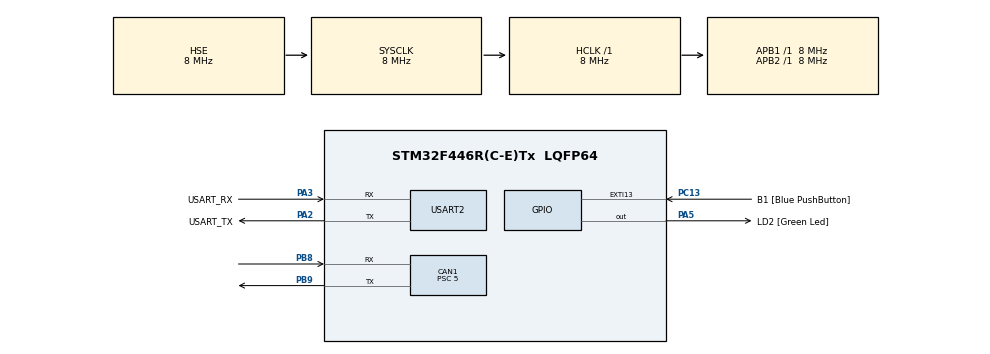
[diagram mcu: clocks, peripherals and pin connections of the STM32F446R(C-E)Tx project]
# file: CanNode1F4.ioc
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CAN1.BS1=CAN_BS1_8TQ
CAN1.CalculateBaudRate=160000
CAN1.CalculateTimeBit=6250
CAN1.CalculateTimeQuantum=625.0
CAN1.Prescaler=5
Mcu.Family=STM32F4
Mcu.Name=STM32F446R(C-E)Tx
Mcu.Package=LQFP64
NVIC.CAN1_RX0_IRQn=true\:0\:0\:false\:false\:true\:true\:true\:true
NVIC.CAN1_RX1_IRQn=true\:0\:0\:false\:false\:true\:true\:true\:true
NVIC.CAN1_SCE_IRQn=true\:0\:0\:false\:false\:true\:true\:true\:true
NVIC.CAN1_TX_IRQn=true\:0\:0\:false\:false\:true\:true\:true\:true
NVIC.PriorityGroup=NVIC_PRIORITYGROUP_0
NVIC.RCC_IRQn=true\:0\:0\:false\:false\:true\:true\:false\:true
PA13.GPIO_Label=TMS
PA13.Mode=Serial_Wire
PA13.Signal=SYS_JTMS-SWDIO
PA14.GPIO_Label=TCK
PA14.Mode=Serial_Wire
PA14.Signal=SYS_JTCK-SWCLK
PA2.GPIO_Label=USART_TX
PA2.Mode=Asynchronous
PA2.Signal=USART2_TX
PA3.GPIO_Label=USART_RX
PA3.Mode=Asynchronous
PA3.Signal=USART2_RX
PA5.GPIO_Label=LD2 [Green Led]
PA5.Signal=GPIO_Output
PB3.GPIO_Label=SWO
PB3.Signal=SYS_JTDO-SWO
PB8.GPIO_Mode=GPIO_MODE_AF_PP
PB8.Mode=CAN_Activate
PB8.Signal=CAN1_RX
PB9.Mode=CAN_Activate
PB9.Signal=CAN1_TX
PC13.GPIO_Label=B1 [Blue PushButton]
PC13.GPIO_ModeDefaultEXTI=GPIO_MODE_IT_FALLING
PC13.Signal=GPXTI13
PC14-OSC32_IN.Mode=LSE-External-Oscillator
PC14-OSC32_IN.Signal=RCC_OSC32_IN
PC15-OSC32_OUT.Mode=LSE-External-Oscillator
PC15-OSC32_OUT.Signal=RCC_OSC32_OUT
PH0-OSC_IN.Mode=HSE-External-Oscillator
PH0-OSC_IN.Signal=RCC_OSC_IN
PH1-OSC_OUT.Mode=HSE-External-Oscillator
PH1-OSC_OUT.Signal=RCC_OSC_OUT
ProjectManager.HeapSize=0x200
ProjectManager.StackSize=0x400
ProjectManager.TargetToolchain=STM32CubeIDE
RCC.48MHZClocksFreq_Value=84000000
RCC.AHBFreq_Value=8000000
RCC.APB1Freq_Value=8000000
RCC.APB1TimFreq_Value=8000000
RCC.APB2Freq_Value=8000000
RCC.APB2TimFreq_Value=8000000
RCC.CortexFreq_Value=8000000
RCC.FLatency-AdvancedSettings=FLASH_LATENCY_0
RCC.HCLKFreq_Value=8000000
RCC.HSE_VALUE=8000000
RCC.HSI_VALUE=16000000
RCC.PLLN=336
RCC.PLLP=RCC_PLLP_DIV4
RCC.SYSCLKFreq_VALUE=8000000
RCC.SYSCLKSource=RCC_SYSCLKSOURCE_HSE
RCC.USBFreq_Value=168000000
RCC.VCOOutputFreq_Value=336000000
USART2.VirtualMode=VM_ASYNC
board=NUCLEO-F446RE

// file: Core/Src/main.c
/* USER CODE BEGIN Header */
/**
  ******************************************************************************
  * @file           : main.c
  * @brief          : Main program body
  ******************************************************************************
  * @attention
  *
  * Copyright (c) 2024 STMicroelectronics.
  * All rights reserved.
  *
  * This software is licensed under terms that can be found in the LICENSE file
  * in the root directory of this software component.
  * If no LICENSE file comes with this software, it is provided AS-IS.
  *
  ******************************************************************************
  */
/* USER CODE END Header */
#include "main.h"

CAN_HandleTypeDef hcan1;

UART_HandleTypeDef huart2;

/* USER CODE BEGIN PV */

CAN_RxHeaderTypeDef RxHeader;
void CAN_Filter_Config(void);
void HAL_CAN_RxFifo0MsgPendingCallback(CAN_HandleTypeDef *hcan);

/* USER CODE END PV */

void SystemClock_Config(void);
static void MX_GPIO_Init(void);
static void MX_USART2_UART_Init(void);
static void MX_CAN1_Init(void);

/* USER CODE BEGIN 0 */
char msg[100];
/* USER CODE END 0 */

int main(void)
{

  /* MCU Configuration--------------------------------------------------------*/

  /* Reset of all peripherals, Initializes the Flash interface and the Systick. */
  HAL_Init();

  /* Configure the system clock */
  SystemClock_Config();

  /* Initialize all configured peripherals */
  MX_GPIO_Init();
  MX_USART2_UART_Init();
  MX_CAN1_Init();
  /* USER CODE BEGIN 2 */
  sprintf(msg, "Inicializado Node2\r\n");
  HAL_UART_Transmit(&huart2, (uint8_t*)msg, strlen(msg), HAL_MAX_DELAY);

	if(HAL_CAN_ActivateNotification(&hcan1,CAN_IT_TX_MAILBOX_EMPTY | CAN_IT_RX_FIFO0_MSG_PENDING | CAN_IT_RX_FIFO0_FULL | CAN_IT_BUSOFF) != HAL_OK)
	{
		Error_Handler();
	}

	CAN_Filter_Config();

	if( HAL_CAN_Start(&hcan1) != HAL_OK)
	{
		Error_Handler();
	}

	CAN_TxHeaderTypeDef TxHeader;
	uint32_t TxMailbox;
	uint8_t message[5] = {'H', 'E','L','L','O'};

	TxHeader.DLC = 5;
	TxHeader.StdId = 0x65D;
	TxHeader.IDE = CAN_ID_STD;
	TxHeader.RTR = CAN_RTR_DATA;

	if (HAL_CAN_AddTxMessage(&hcan1, &TxHeader, &message, &TxMailbox) != HAL_OK){
		sprintf(msg, "Erro: HAL_CAN_AddTxMessage\r\n");
		HAL_UART_Transmit(&huart2, (uint8_t*)msg, strlen(msg), HAL_MAX_DELAY);
		Error_Handler();
	}

	while(HAL_CAN_IsTxMessagePending(&hcan1, TxMailbox) ==  1U);

	  sprintf(msg, "Menssagem Enviado\r\n");
	  HAL_UART_Transmit(&huart2, (uint8_t*)msg, strlen(msg), HAL_MAX_DELAY);

  /* USER CODE END 2 */

  /* Infinite loop */
  /* USER CODE BEGIN WHILE */
  while (1)
  {
	  while(!HAL_CAN_GetRxFifoFillLevel(&hcan1, CAN_RX_FIFO0)){
		  HAL_Delay(1000);
		  sprintf(msg, "Waiting...\r\n");
		  HAL_UART_Transmit(&huart2, (uint8_t*)msg, strlen(msg), HAL_MAX_DELAY);
	  }

		uint8_t rcvd_msg[5];

		char msg[50];

		HAL_CAN_GetRxMessage(&hcan1, CAN_RX_FIFO0, &RxHeader, rcvd_msg);

		sprintf(msg,"Fifo Processing F1 : #%x\r\n",rcvd_msg[0]);
		HAL_UART_Transmit(&huart2,(uint8_t*)msg,strlen(msg),HAL_MAX_DELAY);

    /* USER CODE END WHILE */

  }
}

void SystemClock_Config(void)
{
  RCC_OscInitTypeDef RCC_OscInitStruct = {0};
  RCC_ClkInitTypeDef RCC_ClkInitStruct = {0};

  /** Configure the main internal regulator output voltage
  */
  __HAL_RCC_PWR_CLK_ENABLE();
  __HAL_PWR_VOLTAGESCALING_CONFIG(PWR_REGULATOR_VOLTAGE_SCALE3);

  /** Initializes the RCC Oscillators according to the specified parameters
  * in the RCC_OscInitTypeDef structure.
  */
  RCC_OscInitStruct.OscillatorType = RCC_OSCILLATORTYPE_HSE;
  RCC_OscInitStruct.HSEState = RCC_HSE_ON;
  RCC_OscInitStruct.PLL.PLLState = RCC_PLL_NONE;
  if (HAL_RCC_OscConfig(&RCC_OscInitStruct) != HAL_OK)
  {
    Error_Handler();
  }

  /** Initializes the CPU, AHB and APB buses clocks
  */
  RCC_ClkInitStruct.ClockType = RCC_CLOCKTYPE_HCLK|RCC_CLOCKTYPE_SYSCLK
                              |RCC_CLOCKTYPE_PCLK1|RCC_CLOCKTYPE_PCLK2;
  RCC_ClkInitStruct.SYSCLKSource = RCC_SYSCLKSOURCE_HSE;
  RCC_ClkInitStruct.AHBCLKDivider = RCC_SYSCLK_DIV1;
  RCC_ClkInitStruct.APB1CLKDivider = RCC_HCLK_DIV1;
  RCC_ClkInitStruct.APB2CLKDivider = RCC_HCLK_DIV1;

  if (HAL_RCC_ClockConfig(&RCC_ClkInitStruct, FLASH_LATENCY_0) != HAL_OK)
  {
    Error_Handler();
  }
}

static void MX_CAN1_Init(void)
{

  hcan1.Instance = CAN1;
  hcan1.Init.Prescaler = 5;
  hcan1.Init.Mode = CAN_MODE_NORMAL;
  hcan1.Init.SyncJumpWidth = CAN_SJW_1TQ;
  hcan1.Init.TimeSeg1 = CAN_BS1_8TQ;
  hcan1.Init.TimeSeg2 = CAN_BS2_1TQ;
  hcan1.Init.TimeTriggeredMode = DISABLE;
  hcan1.Init.AutoBusOff = ENABLE;
  hcan1.Init.AutoWakeUp = DISABLE;
  hcan1.Init.AutoRetransmission = ENABLE;
  hcan1.Init.ReceiveFifoLocked = DISABLE;
  hcan1.Init.TransmitFifoPriority = DISABLE;
  if (HAL_CAN_Init(&hcan1) != HAL_OK)
  {
    Error_Handler();
  }

}

static void MX_USART2_UART_Init(void)
{

  huart2.Instance = USART2;
  huart2.Init.BaudRate = 115200;
  huart2.Init.WordLength = UART_WORDLENGTH_8B;
  huart2.Init.StopBits = UART_STOPBITS_1;
  huart2.Init.Parity = UART_PARITY_NONE;
  huart2.Init.Mode = UART_MODE_TX_RX;
  huart2.Init.HwFlowCtl = UART_HWCONTROL_NONE;
  huart2.Init.OverSampling = UART_OVERSAMPLING_16;
  if (HAL_UART_Init(&huart2) != HAL_OK)
  {
    Error_Handler();
  }

}

static void MX_GPIO_Init(void)
{
  GPIO_InitTypeDef GPIO_InitStruct = {0};

  /* GPIO Ports Clock Enable */
  __HAL_RCC_GPIOC_CLK_ENABLE();
  __HAL_RCC_GPIOH_CLK_ENABLE();
  __HAL_RCC_GPIOA_CLK_ENABLE();
  __HAL_RCC_GPIOB_CLK_ENABLE();

  /*Configure GPIO pin Output Level */
  HAL_GPIO_WritePin(LD2_GPIO_Port, LD2_Pin, GPIO_PIN_RESET);

  /*Configure GPIO pin : B1_Pin */
  GPIO_InitStruct.Pin = B1_Pin;
  GPIO_InitStruct.Mode = GPIO_MODE_IT_FALLING;
  GPIO_InitStruct.Pull = GPIO_NOPULL;
  HAL_GPIO_Init(B1_GPIO_Port, &GPIO_InitStruct);

  /*Configure GPIO pin : LD2_Pin */
  GPIO_InitStruct.Pin = LD2_Pin;
  GPIO_InitStruct.Mode = GPIO_MODE_OUTPUT_PP;
  GPIO_InitStruct.Pull = GPIO_NOPULL;
  GPIO_InitStruct.Speed = GPIO_SPEED_FREQ_LOW;
  HAL_GPIO_Init(LD2_GPIO_Port, &GPIO_InitStruct);

}

/* USER CODE BEGIN 4 */
void CAN_Filter_Config(void)
{
	CAN_FilterTypeDef can1_filter_init;

	can1_filter_init.FilterActivation = CAN_FILTER_DISABLE;
	can1_filter_init.FilterBank  = 0;
	can1_filter_init.FilterFIFOAssignment = CAN_RX_FIFO0;
	can1_filter_init.FilterIdHigh = 0x0000;
	can1_filter_init.FilterIdLow = 0x0000;
	can1_filter_init.FilterMaskIdHigh = 0x0000;
	can1_filter_init.FilterMaskIdLow = 0x0000;
	can1_filter_init.FilterMode = CAN_FILTERMODE_IDMASK;
	can1_filter_init.FilterScale = CAN_FILTERSCALE_32BIT;

	if( HAL_CAN_ConfigFilter(&hcan1,&can1_filter_init) != HAL_OK)
	{
		Error_Handler();
	}
}
void HAL_CAN_TxMailbox0CompleteCallback(CAN_HandleTypeDef *hcan)
{
	char msg[50];
	sprintf(msg,"Message Transmitted:M0\r\n");
	HAL_UART_Transmit(&huart2,(uint8_t*)msg,strlen(msg),HAL_MAX_DELAY);

}

void HAL_CAN_TxMailbox1CompleteCallback(CAN_HandleTypeDef *hcan)
{
	char msg[50];
	sprintf(msg,"Message Transmitted:M1\r\n");
	HAL_UART_Transmit(&huart2,(uint8_t*)msg,strlen(msg),HAL_MAX_DELAY);

}

void HAL_CAN_TxMailbox2CompleteCallback(CAN_HandleTypeDef *hcan)
{
	char msg[50];
	sprintf(msg,"Message Transmitted:M2\r\n");
	HAL_UART_Transmit(&huart2,(uint8_t*)msg,strlen(msg),HAL_MAX_DELAY);
}

void HAL_CAN_RxFifo1MsgPendingCallback(CAN_HandleTypeDef *hcan){
	char msg[50];
	sprintf(msg,"Fifo1 Processing F1 : #%x\r\n");
	HAL_UART_Transmit(&huart2,(uint8_t*)msg,strlen(msg),HAL_MAX_DELAY);
}

void HAL_CAN_RxFifo0MsgPendingCallback(CAN_HandleTypeDef *hcan)
{
	uint8_t rcvd_msg[5];

	char msg[50];

	sprintf(msg,"Fifo Processing F1 : #%x\r\n",rcvd_msg[0]);
	HAL_UART_Transmit(&huart2,(uint8_t*)msg,strlen(msg),HAL_MAX_DELAY);

	if(HAL_CAN_GetRxMessage(&hcan1,CAN_RX_FIFO0,&RxHeader,rcvd_msg) != HAL_OK)
	{
		Error_Handler();
	}

	if(RxHeader.StdId == 0x65D && RxHeader.RTR == 0 )
	{
		//This is data frame sent by n1 to n2
		//LED_Manage_Output(rcvd_msg[0]);
		sprintf(msg,"Message Received : #%x\r\n",rcvd_msg[0]);
	}
	else if ( RxHeader.StdId == 0x651 && RxHeader.RTR == 1)
	{
		//This is a remote frame sent by n1 to n2
		//Send_response(RxHeader.StdId);
		//return;
		sprintf(msg,"Message Received : #%x\r\n",rcvd_msg[0]);
	}
	else if ( RxHeader.StdId == 0x651 && RxHeader.RTR == 0)
	{
		//its a reply ( data frame) by n2 to n1
		sprintf(msg,"Reply Received : %#X\r\n",rcvd_msg[0] << 8 | rcvd_msg[1]);
	}

	HAL_UART_Transmit(&huart2,(uint8_t*)msg,strlen(msg),HAL_MAX_DELAY);

}

void HAL_CAN_ErrorCallback(CAN_HandleTypeDef *hcan){
	char msg[50];
	sprintf(msg,"HAL_CAN_ErrorCallback : #%x\r\n");
	HAL_UART_Transmit(&huart2,(uint8_t*)msg,strlen(msg),HAL_MAX_DELAY);
}
/* USER CODE END 4 */

void Error_Handler(void)
{
  __disable_irq();
  while (1)
  {
  }
}
